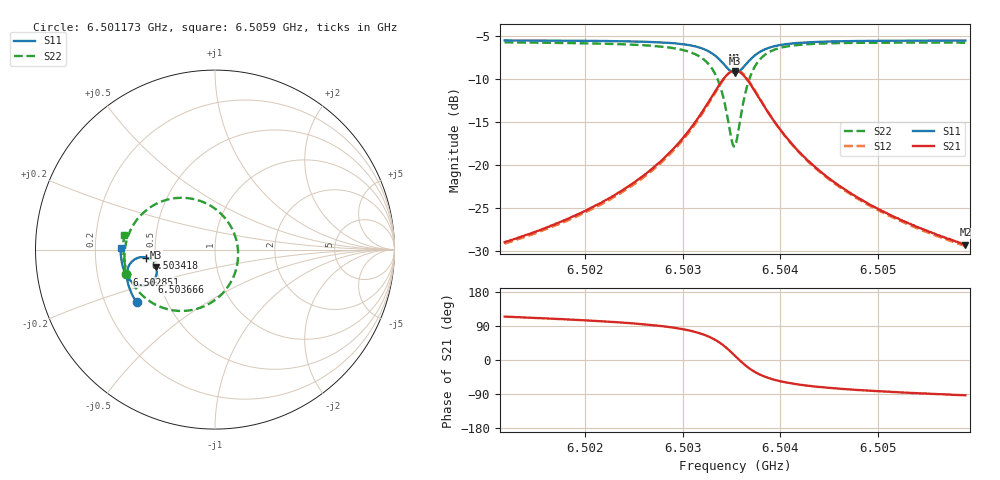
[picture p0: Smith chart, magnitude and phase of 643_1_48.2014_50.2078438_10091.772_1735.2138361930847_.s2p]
#  HZ  S  RI  R  50.00
! Rohde & Schwarz Vector Network Analyzer
! Rohde-Schwarz,ZNB20-2Port,1311601062101988,3.16
! Created: UTC 3/20/2024, 12:04:53 PM
! freq[Hz]  re:S11  im:S11  re:S21  im:S21  re:S12  im:S12  re:S22  im:S22
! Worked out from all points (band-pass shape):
!   401 points, 6.501173 GHz to 6.5059 GHz, reference 50 ohm
!   highest |S21| = -9.06 dB at 6.503536 GHz (marker M1); lowest = -29.3 dB at 6.5059 GHz (marker M2)
!   |S21| within 3 dB of the highest: 6.5033 GHz to 6.503773 GHz (472.5 kHz wide, 0.00726 % of centre)
!   lowest |S11| = -9.3 dB at 6.503536 GHz (marker M3), VSWR 2.04, Z = 24.9 - j5.56 ohm
!   |S11| at or under -10 dB: nowhere
!   |S22| runs from -17.9 to -5.8 dB; largest |S21 - S12| = 0.013
!   S11 on the Smith chart (normalised r, x): 6.501173 GHz: 0.34, -0.27; 6.502851 GHz: 0.33, -0.12; 6.503418 GHz: 0.44, -0.05; 6.503666 GHz: 0.46, -0.19; 6.5059 GHz: 0.31, +0.01
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6.5011726e9  -0.4368 -0.2942  -0.0148 0.0323  -0.0129 0.0325  -0.4952 -0.1356
6.5019644e9  -0.4693 -0.2337  -0.0136 0.0511  -0.0112 0.0507  -0.5049 -0.0477
6.5023781e9  -0.4832 -0.1958  -0.0107 0.0702  -0.0075 0.0691  -0.5004 0.0139
6.5027563e9  -0.4911 -0.152  -0.000576 0.1027  0.00341 0.1002  -0.4774 0.0943
6.5028508e9  -0.4913 -0.1387  0.00538 0.1154  0.00952 0.1122  -0.4645 0.1211
6.5030517e9  -0.4854 -0.104  0.0303 0.1519  0.0342 0.1472  -0.4129 0.1921
6.5031935e9  -0.4689 -0.0736  0.0718 0.1869  0.0748 0.1806  -0.3327 0.2522
6.5033235e9  -0.4314 -0.0465  0.1518 0.2133  0.1528 0.2067  -0.1873 0.2888
6.5034181e9  -0.383 -0.0443  0.2467 0.1958  0.2471 0.1908  -0.0228 0.2433
6.5035008e9  -0.3385 -0.0752  0.3279 0.1179  0.3309 0.1134  0.107 0.0898
6.5035363e9  -0.3273 -0.0984  0.346 0.0673  0.3502 0.0612  0.1285 -0.00566
6.5035599e9  -0.3242 -0.1155  0.3494 0.0314  0.354 0.0239  0.1258 -0.072
6.5035954e9  -0.3264 -0.1407  0.3416 -0.021  0.3458 -0.0308  0.0973 -0.1647
6.5036663e9  -0.3497 -0.1796  0.2925 -0.1002  0.2927 -0.1128  -0.0181 -0.2931
6.5037136e9  -0.3711 -0.1936  0.2509 -0.1299  0.248 -0.1425  -0.1057 -0.3315
6.5037726e9  -0.3972 -0.2007  0.202 -0.1468  0.1963 -0.1577  -0.202 -0.3416
6.5039263e9  -0.446 -0.1914  0.1146 -0.1425  0.1069 -0.1482  -0.3592 -0.2908
6.5040917e9  -0.4746 -0.1698  0.0673 -0.1203  0.0605 -0.1231  -0.4353 -0.222
6.5043281e9  -0.4959 -0.1401  0.0357 -0.094  0.0305 -0.0947  -0.481 -0.1465
6.5046709e9  -0.5112 -0.1028  0.0162 -0.0697  0.0125 -0.0693  -0.5039 -0.0722
6.50512e9  -0.521 -0.06  0.00569 -0.0512  0.00287 -0.0504  -0.5113 -0.00404
6.5059e9  -0.5263 0.00702  -0.00183 -0.0344  -0.00338 -0.0336  -0.5046 0.0822
